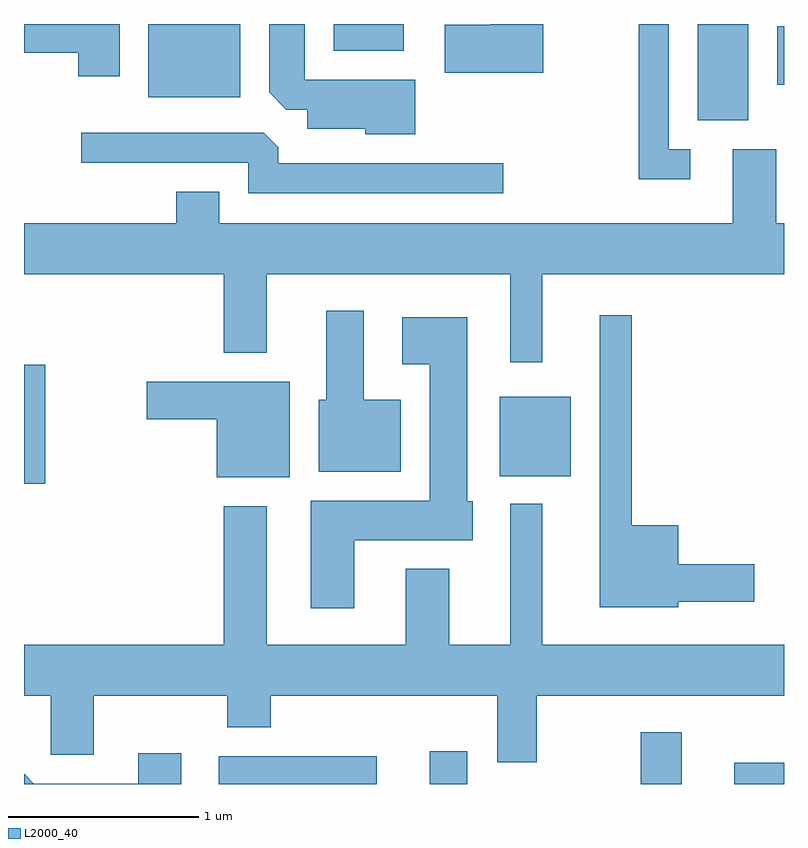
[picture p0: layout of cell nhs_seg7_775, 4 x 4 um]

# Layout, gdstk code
import gdstk
lib = gdstk.Library(unit=1e-6, precision=1e-09)
def R(c, l, rs):  # rectangles x0, y0, x1, y1
    for r in rs: c.add(gdstk.rectangle(r[:2], r[2:], *l))
def P(c, l, *ps):  # polygons
    for p in ps: c.add(gdstk.Polygon(p, *l))
L2000_40 = (2000, 40)

nhs_seg7_775 = lib.new_cell('nhs_seg7_775')
R(nhs_seg7_775, L2000_40, [(208.636,1758.252,209.468,1758.399), (209.746,1758.252,209.944,1758.424), (210.856,1758.252,211.074,1758.524), (211.348,1758.252,211.611,1758.364), (207.611,1759.831,207.724,1760.459), (210.116,1759.871,210.489,1760.289), (211.156,1761.746,211.424,1762.252), (208.266,1761.866,208.749,1762.252), (211.576,1761.931,211.611,1762.239), (209.241,1762.111,209.609,1762.252)])
P(nhs_seg7_775, L2000_40, [(211.118,1761.594),(211.004,1761.594),(211.004,1762.252),(210.846,1762.252),(210.846,1761.436),(211.118,1761.436)],
  [(210.344,1762.252),(210.066,1762.252),(210.066,1762.249),(209.826,1762.249),(209.826,1761.996),(210.344,1761.996)],
  [(209.669,1761.959),(209.089,1761.959),(209.089,1762.252),(208.901,1762.252),(208.901,1761.892),(208.992,1761.801),(209.101,1761.801),(209.101,1761.701),(209.406,1761.701),(209.406,1761.671),(209.669,1761.671)],
  [(208.114,1762.252),(207.611,1762.252),(207.611,1762.101),(207.896,1762.101),(207.896,1761.976),(208.114,1761.976)],
  [(210.133,1761.519),(208.949,1761.519),(208.949,1761.604),(208.874,1761.679),(207.913,1761.679),(207.913,1761.521),(208.791,1761.521),(208.791,1761.361),(210.133,1761.361)],
  [(210.339,1760.936),(211.611,1760.936),(211.611,1761.204),(211.569,1761.204),(211.569,1761.594),(211.341,1761.594),(211.341,1761.204),(208.639,1761.204),(208.639,1761.369),(208.411,1761.369),(208.411,1761.204),(207.611,1761.204),(207.611,1760.936),(208.661,1760.936),(208.661,1760.521),(208.889,1760.521),(208.889,1760.936),(210.171,1760.936),(210.171,1760.473),(210.339,1760.473)],
  [(209.594,1760.274),(209.399,1760.274),(209.399,1760.744),(209.201,1760.744),(209.201,1760.274),(209.161,1760.274),(209.161,1759.896),(209.594,1759.896)],
  [(211.054,1759.211),(211.454,1759.211),(211.454,1759.409),(211.054,1759.409),(211.054,1759.614),(210.809,1759.614),(210.809,1760.718),(210.641,1760.718),(210.641,1759.181),(211.054,1759.181)],
  [(209.349,1759.536),(209.974,1759.536),(209.974,1759.739),(209.944,1759.739),(209.944,1760.709),(209.601,1760.709),(209.601,1760.461),(209.746,1760.461),(209.746,1759.744),(209.121,1759.744),(209.121,1759.176),(209.349,1759.176)],
  [(209.009,1760.369),(208.256,1760.369),(208.256,1760.171),(208.626,1760.171),(208.626,1759.866),(209.009,1759.866)],
  [(210.309,1758.716),(211.611,1758.716),(211.611,1758.984),(210.339,1758.984),(210.339,1759.728),(210.171,1759.728),(210.171,1758.984),(209.849,1758.984),(209.849,1759.384),(209.621,1759.384),(209.621,1758.984),(208.889,1758.984),(208.889,1759.714),(208.661,1759.714),(208.661,1758.984),(207.611,1758.984),(207.611,1758.716),(207.751,1758.716),(207.751,1758.406),(207.979,1758.406),(207.979,1758.716),(208.681,1758.716),(208.681,1758.551),(208.909,1758.551),(208.909,1758.716),(210.101,1758.716),(210.101,1758.366),(210.309,1758.366)],
  [(208.439,1758.414),(208.211,1758.414),(208.211,1758.254),(207.662,1758.254),(207.611,1758.305),(207.611,1758.252),(208.439,1758.252)])

lib.write_gds('nhs_seg7_775.gds')
